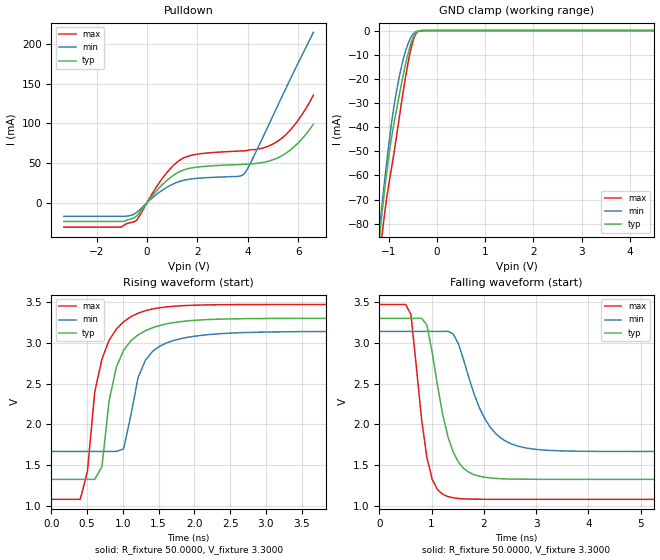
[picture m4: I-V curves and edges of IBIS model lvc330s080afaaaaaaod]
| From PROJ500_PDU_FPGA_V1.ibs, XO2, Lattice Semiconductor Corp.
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[Model]   lvc330s080afaaaaaaod
Model_type   I/O_open_drain
Polarity   Non-Inverting
Enable   Active-Low
Vinl =   0.8000V
Vinh =   2.0000V
Vmeas =   1.6500V
Cref =   0.0F
Rref =   1.0000M
Vref =   0.0V
C_comp   4.2000pF   3.8000pF   7.5000pF
[Temperature Range]   25.0000   0.1250k   -40.0000
[Voltage Range]   3.3000V   3.1400V   3.4700V
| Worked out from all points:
|   slope of the pulldown table from 0 to 0.495 V, typ, clamps not added: 26 ohm
|   GND clamp passes 1 mA (typ) near -0.44 V on its own axis
|   rising waveform, R_fixture 50.0000, V_fixture 3.3000: 20-80 % time 272ps typ, 295ps min, 272ps max; typ from 1.32 V to 3.3 V
|   falling waveform, R_fixture 50.0000, V_fixture 3.3000: 20-80 % time 377ps typ, 542ps min, 261ps max; typ from 3.3 V to 1.32 V
[Pulldown]
|Voltage   I(typ)   I(min)   I(max)
-3.3V     -23.68mA   -17.2mA    -30.83mA
-1.1V     -23.68mA   -17.2mA    -30.83mA
-500mV    -18.89mA   -14.22mA   -24.07mA
600mV     22.43mA    15.62mA    30.22mA
1.3V      39.15mA    26.81mA    53.52mA
2V        44.82mA    30.69mA    61.1mA
3.8V      48.32mA    34.97mA    65.26mA
4.1V      48.78mA    49.41mA    66.67mA
4.7V      51.3mA     89.17mA    69.83mA
5.3V      58.2mA     129.9mA    80.01mA
5.9V      72.2mA     169.5mA    99.73mA
6.6V      98.71mA    214.5mA    135.3mA
[GND_clamp]
|Voltage   I(typ)   I(min)   I(max)
-3.3V     -955.3mA   -930.3mA   -978mA
-1.2V     -86.18mA   -82.93mA   -94.91mA
-1.15V    -76.73mA   -73.29mA   -85.74mA
-1.1V     -67.71mA   -63.95mA   -77.28mA
-1V       -51.52mA   -46.57mA   -63.21mA
-900mV    -38.87mA   -31.88mA   -51.26mA
-800mV    -28.25mA   -20.58mA   -37.97mA
-700mV    -18.1mA    -11.63mA   -24.81mA
-600mV    -9.267mA   -5.265mA   -13.06mA
-450mV    -1.181mA   -586.6uA   -1.592mA
-250mV    -3.532uA   -4.055uA   -3.003uA
6.6V      0A         0A         0A
[Ramp]
| variable   typ   min   max
dV/dt_r  1.1855/0.2689n   0.8843/0.2920n   1.4345/0.2691n
dV/dt_f  1.1855/0.3731n   0.8835/0.5706n   1.4345/0.2588n
R_load = 50.0000
[Rising Waveform]
R_fixture=   50.0000
V_fixture=   3.3000
V_fixture_min=   3.1400
V_fixture_max=   3.4700
|time   V(typ)   V(min)   V(max)
0s        1.324V     1.666V     1.079V
404ps     1.324V     1.666V     1.079V
505.1ps   1.324V     1.666V     1.43V
606.1ps   1.324V     1.666V     2.395V
707.1ps   1.481V     1.666V     2.801V
808.1ps   2.295V     1.667V     3.033V
1.01ns    2.909V     1.698V     3.258V
1.313ns   3.148V     2.783V     3.393V
2.525ns   3.294V     3.12V      3.468V
10ns      3.3V       3.14V      3.47V
[Falling Waveform]
R_fixture=   50.0000
V_fixture=   3.3000
V_fixture_min=   3.1400
V_fixture_max=   3.4700
|time   V(typ)   V(min)   V(max)
0s        3.3V       3.14V      3.47V
606.1ps   3.3V       3.14V      3.345V
808.1ps   3.301V     3.14V      2.063V
909.1ps   3.221V     3.14V      1.596V
1.111ns   2.485V     3.14V      1.2V
1.313ns   1.849V     3.142V     1.112V
1.616ns   1.456V     2.784V     1.085V
2.02ns    1.35V      2.066V     1.08V
2.626ns   1.327V     1.737V     1.079V
10ns      1.324V     1.666V     1.079V
